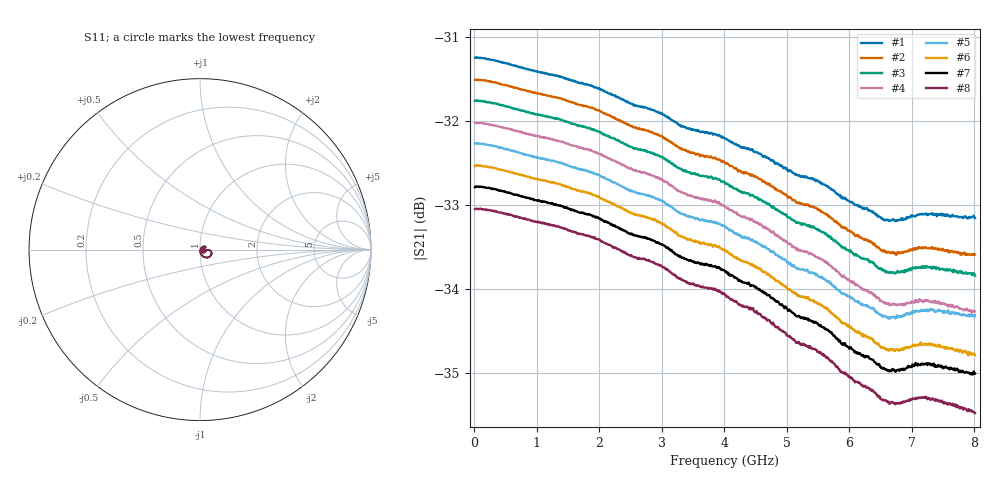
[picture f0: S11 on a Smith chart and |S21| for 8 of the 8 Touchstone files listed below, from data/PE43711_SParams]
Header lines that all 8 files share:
! Device ID: PE43711P
! Serial: 5
! Lot: A0137A
! Temp: 25C
! VDD: 3.300
! VSS: 0.000
! Control_Hi: 3.000
! Control_Lo: 0.000
! Port 1: RF1
! Port 2: RF2
! ThroughPath:1-2
#  Hz  S  RI  R  50
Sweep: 10 MHz to 8.01 GHz
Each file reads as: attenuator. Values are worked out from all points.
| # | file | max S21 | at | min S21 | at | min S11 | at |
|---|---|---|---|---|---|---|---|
| 1 | S_PE43711P_25C_3p300V_3p000V_0p000V_LS_ATT_30p00dB_S2P_SN_5_A0137A.s2p | -31.24 dB | 30 MHz | -33.2 dB | 6.74 GHz | -50.3 dB | 4.2 GHz |
| 2 | S_PE43711P_25C_3p300V_3p000V_0p000V_LS_ATT_30p25dB_S2P_SN_5_A0137A.s2p | -31.50 dB | 30 MHz | -33.6 dB | 7.98 GHz | -50.3 dB | 4.2 GHz |
| 3 | S_PE43711P_25C_3p300V_3p000V_0p000V_LS_ATT_30p50dB_S2P_SN_5_A0137A.s2p | -31.75 dB | 20 MHz | -33.8 dB | 8.01 GHz | -50.3 dB | 4.2 GHz |
| 4 | S_PE43711P_25C_3p300V_3p000V_0p000V_LS_ATT_30p75dB_S2P_SN_5_A0137A.s2p | -32.02 dB | 50 MHz | -34.3 dB | 7.96 GHz | -50.2 dB | 4.19 GHz |
| 5 | S_PE43711P_25C_3p300V_3p000V_0p000V_LS_ATT_31p00dB_S2P_SN_5_A0137A.s2p | -32.26 dB | 40 MHz | -34.4 dB | 6.63 GHz | -50.2 dB | 4.2 GHz |
| 6 | S_PE43711P_25C_3p300V_3p000V_0p000V_LS_ATT_31p25dB_S2P_SN_5_A0137A.s2p | -32.52 dB | 20 MHz | -34.8 dB | 7.9 GHz | -50.2 dB | 4.2 GHz |
| 7 | S_PE43711P_25C_3p300V_3p000V_0p000V_LS_ATT_31p50dB_S2P_SN_5_A0137A.s2p | -32.78 dB | 20 MHz | -35.0 dB | 7.96 GHz | -50.2 dB | 4.2 GHz |
| 8 | S_PE43711P_25C_3p300V_3p000V_0p000V_LS_ATT_31p75dB_S2P_SN_5_A0137A.s2p | -33.04 dB | 100 MHz | -35.5 dB | 8.01 GHz | -50.3 dB | 4.19 GHz |
